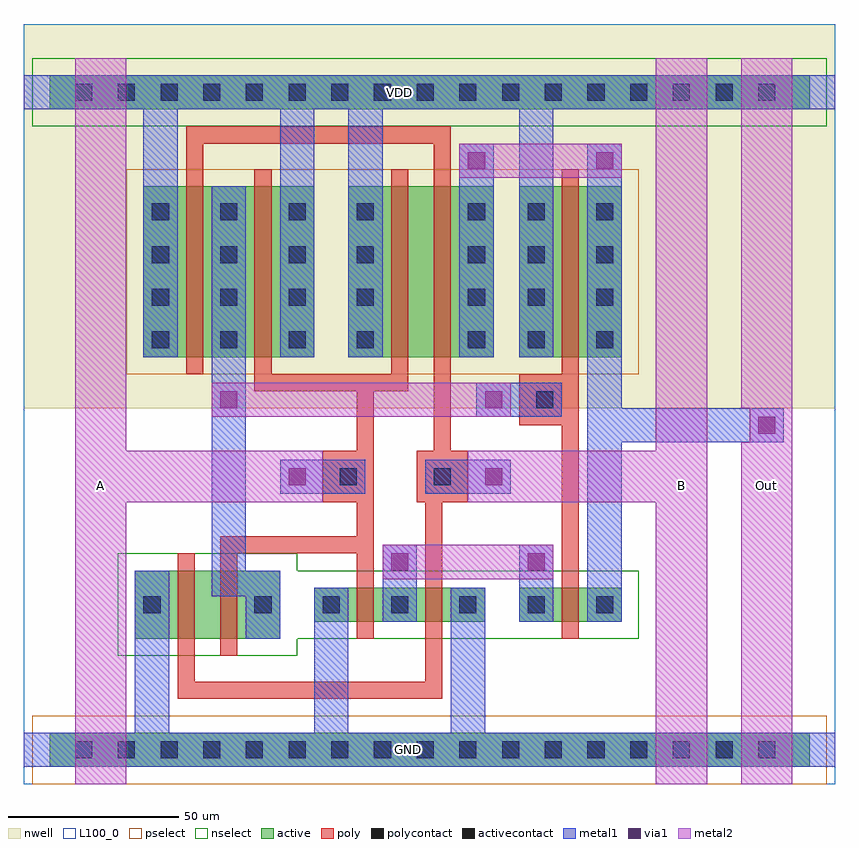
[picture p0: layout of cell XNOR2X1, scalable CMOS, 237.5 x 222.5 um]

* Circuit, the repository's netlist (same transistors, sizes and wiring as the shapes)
* Extracted by KLayout (CIDESI_CM05, LNunT, CIDESI)

.SUBCKT XNOR2X1 B A Out VDD GND
M$1 \$14 A VDD VDD CIDPMOS L=5U W=50U AS=625P AD=187.5P PS=125U PD=57.5U
M$2 Out B \$14 VDD CIDPMOS L=5U W=50U AS=187.5P AD=625P PS=57.5U PD=125U
M$3 Out \$5 VDD VDD CIDPMOS L=5U W=50U AS=625P AD=625P PS=125U PD=125U
M$4 \$5 B VDD VDD CIDPMOS L=5U W=50U AS=625P AD=375P PS=125U PD=65U
M$5 VDD A \$5 VDD CIDPMOS L=5U W=50U AS=375P AD=625P PS=65U PD=125U
M$6 \$9 B GND GND CIDNMOS L=5U W=20U AS=250P AD=75P PS=65U PD=27.5U
M$7 \$5 A \$9 GND CIDNMOS L=5U W=20U AS=75P AD=250P PS=27.5U PD=65U
M$8 Out \$5 \$7 GND CIDNMOS L=5U W=10U AS=125P AD=125P PS=45U PD=45U
M$9 \$7 A GND GND CIDNMOS L=5U W=10U AS=125P AD=75P PS=45U PD=25U
M$10 GND B \$7 GND CIDNMOS L=5U W=10U AS=75P AD=125P PS=25U PD=45U
.ENDS XNOR2X1

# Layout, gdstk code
import gdstk
lib = gdstk.Library(unit=1e-6, precision=1e-09)
def R(c, l, rs):  # rectangles x0, y0, x1, y1
    for r in rs: c.add(gdstk.rectangle(r[:2], r[2:], *l))
def A(c, l, x, y, w, h, nx, ny, dx, dy):  # array of equal rectangles
    R(c, l, [(x+i*dx, y+j*dy, x+i*dx+w, y+j*dy+h) for i in range(nx) for j in range(ny)])
nwell = (42, 0)
active = (43, 0)
pselect = (44, 0)
nselect = (45, 0)
poly = (46, 0)
polycontact = (47, 0)
activecontact = (48, 0)
metal1 = (49, 0)
via1 = (50, 0)
metal2 = (51, 0)
L100_0 = (100, 0)

xnor2x1 = lib.new_cell('XNOR2X1')
R(xnor2x1, nwell, [(0,110,237.5,112.5), (0,112.5,237.5,222.5), (7.5,112.5,230,190), (0,190,237.5,215), (7.5,215,230,222.5)])
R(xnor2x1, active, [(7.5,5,230,15), (32.5,42.5,75,62.5), (85,47.5,135,57.5), (145,47.5,175,57.5), (35,125,85,175), (95,125,137.5,175), (145,125,175,175), (7.5,197.5,230,207.5)])
R(xnor2x1, pselect, [(2.5,0,235,20), (30,120,180,180)])
R(xnor2x1, nselect, [(27.5,37.5,80,42.5), (27.5,42.5,180,62.5), (27.5,62.5,80,67.5), (2.5,192.5,235,212.5)])
R(xnor2x1, poly, [(45,25,122.5,30), (45,30,50,67.5), (117.5,30,122.5,82.5), (57.5,37.5,62.5,67.5), (97.5,42.5,102.5,67.5), (157.5,42.5,162.5,105), (57.5,67.5,102.5,72.5), (97.5,72.5,102.5,82.5), (87.5,82.5,102.5,97.5), (115,82.5,130,97.5), (97.5,97.5,102.5,115), (120,97.5,125,187.5), (145,105,162.5,120), (67.5,115,112.5,120), (47.5,120,52.5,187.5), (67.5,120,72.5,180), (107.5,120,112.5,180), (157.5,120,162.5,180), (47.5,187.5,125,192.5)])
R(xnor2x1, polycontact, [(92.5,87.5,97.5,92.5), (120,87.5,125,92.5), (150,110,155,115)])
A(xnor2x1, activecontact, 15, 7.5, 5, 5, 17, 2, 12.5, 192.5)
A(xnor2x1, activecontact, 67.5, 50, 5, 5, 6, 1, 20, 0)
A(xnor2x1, activecontact, 37.5, 127.5, 5, 5, 4, 4, 20, 12.5)
A(xnor2x1, activecontact, 130, 127.5, 5, 5, 1, 4, 0, 12.5)
A(xnor2x1, activecontact, 147.5, 127.5, 5, 5, 1, 4, 0, 12.5)
A(xnor2x1, activecontact, 167.5, 127.5, 5, 5, 1, 4, 0, 12.5)
R(xnor2x1, activecontact, [(35,50,40,55)])
R(xnor2x1, metal1, [(0,5,237.5,15), (7.5,5,230,15), (32.5,15,42.5,62.5), (85,15,95,57.5), (125,15,135,57.5), (65,42.5,75,55), (105,47.5,115,70), (145,47.5,155,70), (165,47.5,175,100), (55,55,75,62.5), (55,62.5,65,175), (75,85,100,95), (117.5,85,142.5,95), (165,100,222.5,110), (132.5,107.5,157.5,117.5), (165,110,175,187.5), (35,125,45,197.5), (75,125,85,197.5), (95,125,105,197.5), (127.5,125,137.5,187.5), (145,125,155,197.5), (0,197.5,237.5,207.5), (7.5,197.5,230,207.5)])
R(xnor2x1, via1, [(107.5,62.5,112.5,67.5), (147.5,62.5,152.5,67.5), (77.5,87.5,82.5,92.5), (135,87.5,140,92.5), (215,102.5,220,107.5), (57.5,110,62.5,115), (135,110,140,115), (130,180,135,185), (167.5,180,172.5,185)])
R(xnor2x1, metal2, [(15,0,30,82.5), (185,0,200,82.5), (210,0,225,100), (105,60,155,70), (15,82.5,87.5,97.5), (130,82.5,200,97.5), (15,97.5,30,212.5), (185,97.5,200,212.5), (212.5,100,225,110), (55,107.5,142.5,117.5), (210,110,225,212.5), (127.5,177.5,175,187.5)])
R(xnor2x1, L100_0, [(0,0,237.5,222.5)])
xnor2x1.add(gdstk.Label('GND', (112.5,10), layer=49, texttype=1))
xnor2x1.add(gdstk.Label('VDD', (110,202.5), layer=49, texttype=1))
xnor2x1.add(gdstk.Label('A', (22.5,87.5), layer=51, texttype=1))
xnor2x1.add(gdstk.Label('B', (192.5,87.5), layer=51, texttype=1))
xnor2x1.add(gdstk.Label('Out', (217.5,87.5), layer=51, texttype=1))

lib.write_gds('XNOR2X1.gds')
